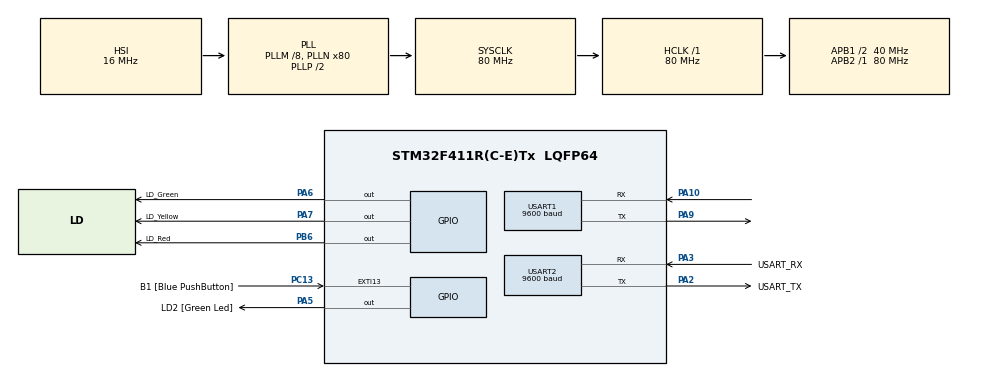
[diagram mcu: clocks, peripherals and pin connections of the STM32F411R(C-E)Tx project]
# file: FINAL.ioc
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Mcu.Family=STM32F4
Mcu.Name=STM32F411R(C-E)Tx
Mcu.Package=LQFP64
NVIC.PriorityGroup=NVIC_PRIORITYGROUP_1
NVIC.USART1_IRQn=true\:1\:0\:true\:false\:true\:true\:true
PA10.Mode=Asynchronous
PA10.Signal=USART1_RX
PA13.GPIO_Label=TMS
PA13.Mode=Serial_Wire
PA13.Signal=SYS_JTMS-SWDIO
PA14.GPIO_Label=TCK
PA14.Mode=Serial_Wire
PA14.Signal=SYS_JTCK-SWCLK
PA2.GPIO_Label=USART_TX
PA2.Mode=Asynchronous
PA2.Signal=USART2_TX
PA3.GPIO_Label=USART_RX
PA3.Mode=Asynchronous
PA3.Signal=USART2_RX
PA5.GPIO_Label=LD2 [Green Led]
PA5.Signal=GPIO_Output
PA6.GPIO_Label=LD_Green
PA6.Signal=GPIO_Output
PA7.GPIO_Label=LD_Yellow
PA7.Signal=GPIO_Output
PA9.Mode=Asynchronous
PA9.Signal=USART1_TX
PB3.GPIO_Label=SWO
PB3.Signal=SYS_JTDO-SWO
PB6.GPIO_Label=LD_Red
PB6.Signal=GPIO_Output
PC13-ANTI_TAMP.GPIO_Label=B1 [Blue PushButton]
PC13-ANTI_TAMP.GPIO_ModeDefaultEXTI=GPIO_MODE_IT_FALLING
PC13-ANTI_TAMP.Signal=GPXTI13
PC14-OSC32_IN.Mode=LSE-External-Oscillator
PC14-OSC32_IN.Signal=RCC_OSC32_IN
PC15-OSC32_OUT.Mode=LSE-External-Oscillator
PC15-OSC32_OUT.Signal=RCC_OSC32_OUT
PH0\ -\ OSC_IN.Mode=HSE-External-Clock-Source
PH0\ -\ OSC_IN.Signal=RCC_OSC_IN
PH1\ -\ OSC_OUT.Mode=HSE-External-Clock-Source
PH1\ -\ OSC_OUT.Signal=RCC_OSC_OUT
ProjectManager.HeapSize=0x200
ProjectManager.StackSize=0x400
ProjectManager.TargetToolchain=STM32CubeIDE
RCC.48MHZClocksFreq_Value=40000000
RCC.AHBFreq_Value=80000000
RCC.APB1CLKDivider=RCC_HCLK_DIV2
RCC.APB1Freq_Value=40000000
RCC.APB1TimFreq_Value=80000000
RCC.APB2Freq_Value=80000000
RCC.APB2TimFreq_Value=80000000
RCC.CortexFreq_Value=80000000
RCC.FLatency-AdvancedSettings=FLASH_LATENCY_2
RCC.HCLKFreq_Value=80000000
RCC.HSE_VALUE=8000000
RCC.HSI_VALUE=16000000
RCC.PLLM=8
RCC.PLLN=80
RCC.SYSCLKFreq_VALUE=80000000
RCC.SYSCLKSource=RCC_SYSCLKSOURCE_PLLCLK
RCC.VCOOutputFreq_Value=160000000
USART1.BaudRate=9600
USART1.VirtualMode=VM_ASYNC
USART2.BaudRate=9600
USART2.VirtualMode=VM_ASYNC
board=NUCLEO-F411RE

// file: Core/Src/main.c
/* USER CODE BEGIN Header */
/**
  ******************************************************************************
  * @file           : main.c
  * @brief          : Main program body
  ******************************************************************************
  * @attention
  *
  * Copyright (c) 2022 STMicroelectronics.
  * All rights reserved.
  *
  * This software is licensed under terms that can be found in the LICENSE file
  * in the root directory of this software component.
  * If no LICENSE file comes with this software, it is provided AS-IS.
  *
  ******************************************************************************
  */
/* USER CODE END Header */
#include "main.h"

UART_HandleTypeDef huart1;
UART_HandleTypeDef huart2;

/* USER CODE BEGIN PV */
uint8_t buffer[1];
uint8_t buffer1[10];
uint8_t state;
/* USER CODE END PV */

void SystemClock_Config(void);
static void MX_GPIO_Init(void);
static void MX_USART2_UART_Init(void);
static void MX_USART1_UART_Init(void);
/* USER CODE BEGIN PFP */
void HAL_UART_RxCpltCallback(UART_HandleTypeDef *huart)
{
	if(huart == &huart1)
	{
		HAL_GPIO_TogglePin(LD2_GPIO_Port, LD2_Pin);
		sprintf(buffer1,"pm2.5 %d\r\n",buffer[0]);
		HAL_UART_Transmit(&huart2, &buffer1, sizeof(buffer1), HAL_MAX_DELAY);
		if(buffer[0] >= 0 && buffer[0] < 50) state = 1;
		if(buffer[0] >= 50 && buffer[0] < 150) state = 2;
		if(buffer[0] > 150) state = 3;
		HAL_UART_Receive_IT(&huart1, &buffer, sizeof(buffer));
	}
}

/* USER CODE END PFP */

int main(void)
{

  /* MCU Configuration--------------------------------------------------------*/

  /* Reset of all peripherals, Initializes the Flash interface and the Systick. */
  HAL_Init();

  /* Configure the system clock */
  SystemClock_Config();

  /* Initialize all configured peripherals */
  MX_GPIO_Init();
  MX_USART2_UART_Init();
  MX_USART1_UART_Init();
  /* USER CODE BEGIN 2 */
  HAL_UART_Receive_IT(&huart1, &buffer, sizeof(buffer));
  state = 4;
  /* USER CODE END 2 */

  /* Infinite loop */
  /* USER CODE BEGIN WHILE */
  while (1)
  {
	  switch (state) {
	  	    case 1:
	  		      HAL_GPIO_WritePin(LD_Green_GPIO_Port, LD_Green_Pin, GPIO_PIN_SET);
	  		      HAL_GPIO_WritePin(LD_Yellow_GPIO_Port, LD_Yellow_Pin, GPIO_PIN_RESET);
	  		      HAL_GPIO_WritePin(LD_Red_GPIO_Port, LD_Red_Pin, GPIO_PIN_RESET);
	  	      break;
	  	    case 2:
	  		      HAL_GPIO_WritePin(LD_Green_GPIO_Port, LD_Green_Pin, GPIO_PIN_RESET);
	  		      HAL_GPIO_WritePin(LD_Yellow_GPIO_Port, LD_Yellow_Pin, GPIO_PIN_SET);
	  		      HAL_GPIO_WritePin(LD_Red_GPIO_Port, LD_Red_Pin, GPIO_PIN_RESET);
	  	      break;
	  	    case 3:
	  		      HAL_GPIO_WritePin(LD_Green_GPIO_Port, LD_Green_Pin, GPIO_PIN_RESET);
	  		      HAL_GPIO_WritePin(LD_Yellow_GPIO_Port, LD_Yellow_Pin, GPIO_PIN_RESET);
	  		      HAL_GPIO_WritePin(LD_Red_GPIO_Port, LD_Red_Pin, GPIO_PIN_SET);
	  	      break;
	  	    default:
	  		      HAL_GPIO_WritePin(LD_Green_GPIO_Port, LD_Green_Pin, GPIO_PIN_SET);
	  		      HAL_GPIO_WritePin(LD_Yellow_GPIO_Port, LD_Yellow_Pin, GPIO_PIN_SET);
	  		      HAL_GPIO_WritePin(LD_Red_GPIO_Port, LD_Red_Pin, GPIO_PIN_SET);
	  }
    /* USER CODE END WHILE */

  }
}

void SystemClock_Config(void)
{
  RCC_OscInitTypeDef RCC_OscInitStruct = {0};
  RCC_ClkInitTypeDef RCC_ClkInitStruct = {0};

  /** Configure the main internal regulator output voltage
  */
  __HAL_RCC_PWR_CLK_ENABLE();
  __HAL_PWR_VOLTAGESCALING_CONFIG(PWR_REGULATOR_VOLTAGE_SCALE1);
  /** Initializes the RCC Oscillators according to the specified parameters
  * in the RCC_OscInitTypeDef structure.
  */
  RCC_OscInitStruct.OscillatorType = RCC_OSCILLATORTYPE_HSI;
  RCC_OscInitStruct.HSIState = RCC_HSI_ON;
  RCC_OscInitStruct.HSICalibrationValue = RCC_HSICALIBRATION_DEFAULT;
  RCC_OscInitStruct.PLL.PLLState = RCC_PLL_ON;
  RCC_OscInitStruct.PLL.PLLSource = RCC_PLLSOURCE_HSI;
  RCC_OscInitStruct.PLL.PLLM = 8;
  RCC_OscInitStruct.PLL.PLLN = 80;
  RCC_OscInitStruct.PLL.PLLP = RCC_PLLP_DIV2;
  RCC_OscInitStruct.PLL.PLLQ = 4;
  if (HAL_RCC_OscConfig(&RCC_OscInitStruct) != HAL_OK)
  {
    Error_Handler();
  }
  /** Initializes the CPU, AHB and APB buses clocks
  */
  RCC_ClkInitStruct.ClockType = RCC_CLOCKTYPE_HCLK|RCC_CLOCKTYPE_SYSCLK
                              |RCC_CLOCKTYPE_PCLK1|RCC_CLOCKTYPE_PCLK2;
  RCC_ClkInitStruct.SYSCLKSource = RCC_SYSCLKSOURCE_PLLCLK;
  RCC_ClkInitStruct.AHBCLKDivider = RCC_SYSCLK_DIV1;
  RCC_ClkInitStruct.APB1CLKDivider = RCC_HCLK_DIV2;
  RCC_ClkInitStruct.APB2CLKDivider = RCC_HCLK_DIV1;

  if (HAL_RCC_ClockConfig(&RCC_ClkInitStruct, FLASH_LATENCY_2) != HAL_OK)
  {
    Error_Handler();
  }
}

static void MX_USART1_UART_Init(void)
{

  huart1.Instance = USART1;
  huart1.Init.BaudRate = 9600;
  huart1.Init.WordLength = UART_WORDLENGTH_8B;
  huart1.Init.StopBits = UART_STOPBITS_1;
  huart1.Init.Parity = UART_PARITY_NONE;
  huart1.Init.Mode = UART_MODE_TX_RX;
  huart1.Init.HwFlowCtl = UART_HWCONTROL_NONE;
  huart1.Init.OverSampling = UART_OVERSAMPLING_16;
  if (HAL_UART_Init(&huart1) != HAL_OK)
  {
    Error_Handler();
  }

}

static void MX_USART2_UART_Init(void)
{

  huart2.Instance = USART2;
  huart2.Init.BaudRate = 9600;
  huart2.Init.WordLength = UART_WORDLENGTH_8B;
  huart2.Init.StopBits = UART_STOPBITS_1;
  huart2.Init.Parity = UART_PARITY_NONE;
  huart2.Init.Mode = UART_MODE_TX_RX;
  huart2.Init.HwFlowCtl = UART_HWCONTROL_NONE;
  huart2.Init.OverSampling = UART_OVERSAMPLING_16;
  if (HAL_UART_Init(&huart2) != HAL_OK)
  {
    Error_Handler();
  }

}

static void MX_GPIO_Init(void)
{
  GPIO_InitTypeDef GPIO_InitStruct = {0};

  /* GPIO Ports Clock Enable */
  __HAL_RCC_GPIOC_CLK_ENABLE();
  __HAL_RCC_GPIOH_CLK_ENABLE();
  __HAL_RCC_GPIOA_CLK_ENABLE();
  __HAL_RCC_GPIOB_CLK_ENABLE();

  /*Configure GPIO pin Output Level */
  HAL_GPIO_WritePin(GPIOA, LD2_Pin|LD_Green_Pin|LD_Yellow_Pin, GPIO_PIN_RESET);

  /*Configure GPIO pin Output Level */
  HAL_GPIO_WritePin(LD_Red_GPIO_Port, LD_Red_Pin, GPIO_PIN_RESET);

  /*Configure GPIO pin : B1_Pin */
  GPIO_InitStruct.Pin = B1_Pin;
  GPIO_InitStruct.Mode = GPIO_MODE_IT_FALLING;
  GPIO_InitStruct.Pull = GPIO_NOPULL;
  HAL_GPIO_Init(B1_GPIO_Port, &GPIO_InitStruct);

  /*Configure GPIO pins : LD2_Pin LD_Green_Pin LD_Yellow_Pin */
  GPIO_InitStruct.Pin = LD2_Pin|LD_Green_Pin|LD_Yellow_Pin;
  GPIO_InitStruct.Mode = GPIO_MODE_OUTPUT_PP;
  GPIO_InitStruct.Pull = GPIO_NOPULL;
  GPIO_InitStruct.Speed = GPIO_SPEED_FREQ_LOW;
  HAL_GPIO_Init(GPIOA, &GPIO_InitStruct);

  /*Configure GPIO pin : LD_Red_Pin */
  GPIO_InitStruct.Pin = LD_Red_Pin;
  GPIO_InitStruct.Mode = GPIO_MODE_OUTPUT_PP;
  GPIO_InitStruct.Pull = GPIO_NOPULL;
  GPIO_InitStruct.Speed = GPIO_SPEED_FREQ_LOW;
  HAL_GPIO_Init(LD_Red_GPIO_Port, &GPIO_InitStruct);

}

void Error_Handler(void)
{
  __disable_irq();
  while (1)
  {
  }
}
